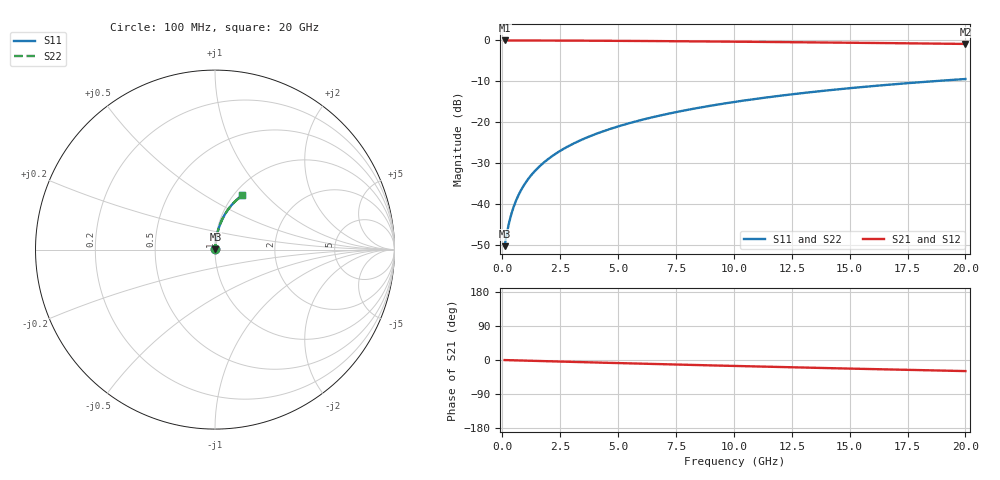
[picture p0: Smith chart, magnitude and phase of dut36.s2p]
! Touchstone file exported from HFSS 2024.1.0
!  File:  C:/UserFiles/LocalFiles/RDL_TSV_Batchsim/temp_RDL_top_36_1778680802.aedt
!  Generated:  10:02:09 PM May 13, 2026
!  Design:  RDL_top
!  Project:  temp_RDL_top_36_1778680802
!  Setup:  Setup1
!  Solution:  Sweep
! Variables:
!  dtsv = 10.80580581um
!  hbump = 3um
!  htsv = 71.65um
!  ldown = 100um
!  lrdl = 378.02um
!  p = 40
!  p1 = 44.09um
!  rhole = 1um
!  t = 450um
!  tdown = 3.915915916um
!  trdl = 4.45um
!  wdown = 15.38538539um
!  wrdl = 12.95um
# GHz S MA R 50.000000
! Terminal data exported
! Port[1] = Box2_T1
! Port[2] = Box2_T2
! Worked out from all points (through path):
!   200 points, 100 MHz to 20 GHz, reference 50 ohm
!   highest |S21| = -0.02 dB at 100 MHz (marker M1); lowest = -0.9 dB at 20 GHz (marker M2)
!   group delay of S21, straight-line fit = 4.05 ps
!   lowest |S11| = -50.3 dB at 100 MHz (marker M3), VSWR 1.01, Z = 50.2 + j0.186 ohm
!   |S11| at or under -10 dB: start of sweep to 18.59 GHz
!   |S22| runs from -50.3 to -9.4 dB; largest |S21 - S12| = 4.1e-15
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0.1  0.00305 37.5  0.9976 -0.2  0.9976 -0.2  0.00305 37.5
! Gamma 0 0 0 0
! Port Impedance 50 0 50 0
0.2  0.004434 55.9  0.9975 -0.3  0.9975 -0.3  0.004434 55.9
0.3  0.006024 64.9  0.9974 -0.5  0.9974 -0.5  0.006023 64.9
0.4  0.007686 70.1  0.9974 -0.7  0.9974 -0.7  0.007685 70.1
0.5  0.009385 73.4  0.9973 -0.8  0.9973 -0.8  0.009385 73.4
0.6  0.01111 75.7  0.9972 -1.0  0.9972 -1.0  0.01111 75.7
0.8  0.01459 78.7  0.997 -1.3  0.997 -1.3  0.01459 78.7
1.1  0.01986 81.0  0.9967 -1.8  0.9967 -1.8  0.01986 81.0
1.5  0.02692 82.4  0.9962 -2.5  0.9962 -2.5  0.02692 82.4
1.8  0.03223 82.9  0.9957 -3.0  0.9957 -3.0  0.03223 82.9
2.1  0.03753 83.2  0.9952 -3.5  0.9952 -3.5  0.03754 83.2
2.7  0.04814 83.3  0.9939 -4.5  0.9939 -4.5  0.04814 83.3
3.5  0.06226 83.0  0.9919 -5.7  0.9919 -5.7  0.06226 83.0
4.2  0.0746 82.5  0.9897 -6.9  0.9897 -6.9  0.0746 82.5
5  0.0887 81.9  0.9869 -8.1  0.9869 -8.1  0.0887 81.9
5.9  0.1046 81.0  0.9834 -9.5  0.9834 -9.5  0.1046 81.0
6.8  0.1204 80.1  0.9796 -10.9  0.9796 -10.9  0.1204 80.1
8.3  0.1467 78.4  0.9726 -13.2  0.9726 -13.2  0.1467 78.4
10.1  0.178 76.2  0.9635 -15.8  0.9635 -15.8  0.178 76.2
13.4  0.234 72.0  0.9454 -20.5  0.9454 -20.5  0.234 72.0
16.7  0.2873 67.7  0.9256 -25.0  0.9256 -25.0  0.2873 67.7
20  0.337 63.4  0.9047 -29.3  0.9047 -29.3  0.337 63.4
